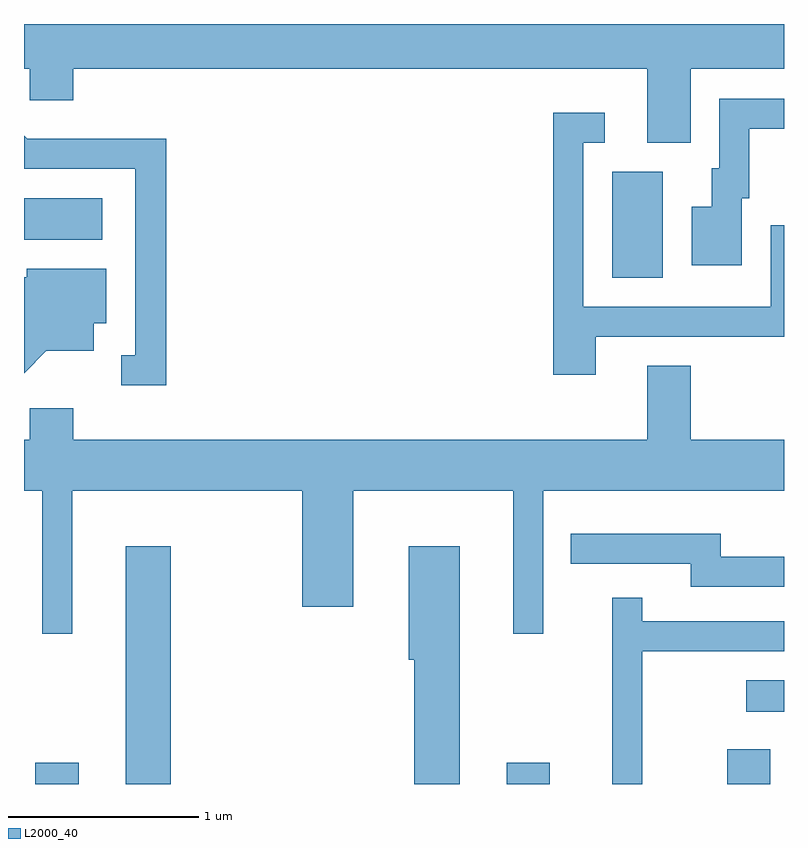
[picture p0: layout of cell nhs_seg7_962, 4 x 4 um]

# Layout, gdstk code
import gdstk
lib = gdstk.Library(unit=1e-6, precision=1e-09)
def R(c, l, rs):  # rectangles x0, y0, x1, y1
    for r in rs: c.add(gdstk.rectangle(r[:2], r[2:], *l))
def P(c, l, *ps):  # polygons
    for p in ps: c.add(gdstk.Polygon(p, *l))
L2000_40 = (2000, 40)

nhs_seg7_962 = lib.new_cell('nhs_seg7_962')
R(nhs_seg7_962, L2000_40, [(213.671,1788.252,213.899,1788.364), (214.146,1788.252,214.384,1789.504), (216.151,1788.252,216.379,1788.364), (217.311,1788.252,217.539,1788.434), (217.413,1788.631,217.611,1788.799), (216.706,1790.916,216.974,1791.474), (213.611,1791.116,214.024,1791.334)])
P(nhs_seg7_962, L2000_40, [(217.119,1792.016),(217.611,1792.016),(217.611,1792.252),(213.611,1792.252),(213.611,1792.016),(213.641,1792.016),(213.641,1791.851),(213.869,1791.851),(213.869,1792.016),(216.891,1792.016),(216.891,1791.626),(217.119,1791.626)],
  [(217.389,1791.336),(217.429,1791.336),(217.429,1791.701),(217.611,1791.701),(217.611,1791.859),(217.271,1791.859),(217.271,1791.494),(217.231,1791.494),(217.231,1791.289),(217.126,1791.289),(217.126,1790.981),(217.389,1790.981)],
  [(216.619,1790.606),(217.611,1790.606),(217.611,1791.193),(217.541,1791.193),(217.541,1790.764),(216.554,1790.764),(216.554,1791.626),(216.668,1791.626),(216.668,1791.784),(216.396,1791.784),(216.396,1790.406),(216.619,1790.406)],
  [(214.359,1791.649),(213.627,1791.649),(213.611,1791.665),(213.611,1791.491),(214.196,1791.491),(214.196,1790.509),(214.123,1790.509),(214.123,1790.351),(214.359,1790.351)],
  [(213.727,1790.531),(213.979,1790.531),(213.979,1790.676),(214.044,1790.676),(214.044,1790.964),(213.626,1790.964),(213.626,1790.919),(213.611,1790.919),(213.611,1790.415)],
  [(213.864,1789.796),(215.076,1789.796),(215.076,1789.186),(215.344,1789.186),(215.344,1789.796),(216.186,1789.796),(216.186,1789.043),(216.344,1789.043),(216.344,1789.796),(217.611,1789.796),(217.611,1790.064),(217.119,1790.064),(217.119,1790.454),(216.891,1790.454),(216.891,1790.064),(213.869,1790.064),(213.869,1790.229),(213.641,1790.229),(213.641,1790.064),(213.611,1790.064),(213.611,1789.796),(213.706,1789.796),(213.706,1789.043),(213.864,1789.043)],
  [(217.611,1789.449),(217.279,1789.449),(217.279,1789.569),(216.488,1789.569),(216.488,1789.411),(217.121,1789.411),(217.121,1789.291),(217.611,1789.291)],
  [(215.904,1789.504),(215.636,1789.504),(215.636,1788.906),(215.666,1788.906),(215.666,1788.252),(215.904,1788.252)],
  [(216.864,1788.951),(217.611,1788.951),(217.611,1789.109),(216.864,1789.109),(216.864,1789.233),(216.706,1789.233),(216.706,1788.252),(216.864,1788.252)])

lib.write_gds('nhs_seg7_962.gds')
